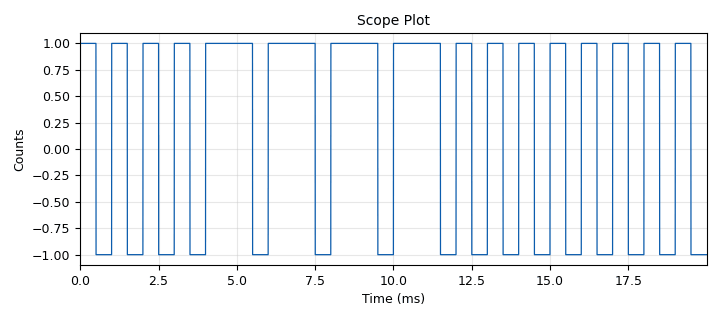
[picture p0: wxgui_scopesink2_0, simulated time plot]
<?xml version='1.0' encoding='utf-8'?>
<?grc format='1' created='3.7.11'?>
<flow_graph>
<block>
<key>options</key>
<param><key>id</key><value>top_block</value></param>
<param><key>generate_options</key><value>wx_gui</value></param>
</block>
<block>
<key>variable</key>
<param><key>id</key><value>center_freq</value></param>
<param><key>value</key><value>433e6</value></param>
</block>
<block>
<key>variable</key>
<param><key>id</key><value>samp_rate</value></param>
<param><key>value</key><value>2e6</value></param>
</block>
<block>
<key>variable</key>
<param><key>id</key><value>symbol_duration</value></param>
<param><key>value</key><value>0.00050</value></param>
</block>
<block>
<key>analog_sig_source_x</key>
<param><key>id</key><value>analog_sig_source_x_0</value></param>
<param><key>amp</key><value>1</value></param>
<param><key>freq</key><value>900500</value></param>
<param><key>offset</key><value>0</value></param>
<param><key>type</key><value>complex</value></param>
<param><key>samp_rate</key><value>samp_rate</value></param>
<param><key>waveform</key><value>analog.GR_COS_WAVE</value></param>
</block>
<block>
<key>blocks_add_const_vxx</key>
<param><key>id</key><value>blocks_add_const_vxx_0</value></param>
<param><key>const</key><value>-0.5</value></param>
<param><key>type</key><value>float</value></param>
</block>
<block>
<key>blocks_complex_to_mag_squared</key>
<param><key>id</key><value>blocks_complex_to_mag_squared_0</value></param>
</block>
<block>
<key>blocks_multiply_const_vxx</key>
<param><key>id</key><value>blocks_multiply_const_vxx_0</value></param>
<param><key>const</key><value>2</value></param>
<param><key>type</key><value>float</value></param>
</block>
<block>
<key>blocks_multiply_xx</key>
<param><key>id</key><value>blocks_multiply_xx_0</value></param>
<param><key>type</key><value>complex</value></param>
</block>
<block>
<key>blocks_repeat</key>
<param><key>id</key><value>blocks_repeat_0</value></param>
<param><key>interp</key><value>int(samp_rate * symbol_duration)</value></param>
<param><key>type</key><value>complex</value></param>
</block>
<block>
<key>blocks_threshold_ff</key>
<param><key>id</key><value>blocks_threshold_ff_0</value></param>
<param><key>high</key><value>0.11</value></param>
<param><key>init</key><value>0</value></param>
<param><key>low</key><value>0.1</value></param>
</block>
<block>
<key>blocks_throttle</key>
<param><key>id</key><value>blocks_throttle_0</value></param>
<param><key>samples_per_second</key><value>samp_rate</value></param>
<param><key>type</key><value>complex</value></param>
</block>
<block>
<key>blocks_vector_source_x</key>
<param><key>id</key><value>blocks_vector_source_x_0</value></param>
<param><key>type</key><value>complex</value></param>
<param><key>repeat</key><value>True</value></param>
<param><key>vector</key><value>[1,1,1,0,1,1,1,0,1,1,1,0,1,1,1,0,1,0,1,0,1,0,1,0,1,0,1,0,1,0,1,0,1,0,1,0,1,0,1,0,1,0,1,0,1,0,1,0,1,0,1,0,1,0,1,0,1,0,1,0,1,0,1,0,1,0,1,0,1,0,1,0,1,0,1,0,1,0,1,0,1,0,1,0]</value></param>
</block>
<block>
<key>blocks_wavfile_sink</key>
<param><key>id</key><value>blocks_wavfile_sink_0</value></param>
<param><key>bits_per_sample</key><value>8</value></param>
<param><key>_enabled</key><value>0</value></param>
<param><key>file</key><value>S:\SDROutput\RCCar\GeneratedOut2.wav</value></param>
<param><key>samp_rate</key><value>int(samp_rate)</value></param>
</block>
<block>
<key>osmosdr_sink</key>
<param><key>id</key><value>osmosdr_sink_1</value></param>
<param><key>bb_gain0</key><value>20</value></param>
<param><key>freq0</key><value>center_freq</value></param>
<param><key>if_gain0</key><value>20</value></param>
<param><key>gain0</key><value>10</value></param>
<param><key>args</key><value></value></param>
<param><key>type</key><value>fc32</value></param>
<param><key>sample_rate</key><value>samp_rate</value></param>
<param><key>sync</key><value></value></param>
</block>
<block>
<key>wxgui_scopesink2</key>
<param><key>id</key><value>wxgui_scopesink2_0</value></param>
<param><key>ac_couple</key><value>False</value></param>
<param><key>num_inputs</key><value>1</value></param>
<param><key>samp_rate</key><value>samp_rate</value></param>
<param><key>t_scale</key><value>0.002</value></param>
<param><key>title</key><value>Scope Plot</value></param>
<param><key>trig_mode</key><value>wxgui.TRIG_MODE_AUTO</value></param>
<param><key>type</key><value>float</value></param>
<param><key>v_offset</key><value>0</value></param>
<param><key>v_scale</key><value>1</value></param>
<param><key>xy_mode</key><value>False</value></param>
<param><key>y_axis_label</key><value>Counts</value></param>
</block>
<connection><source_block_id>analog_sig_source_x_0</source_block_id><sink_block_id>blocks_multiply_xx_0</sink_block_id><source_key>0</source_key><sink_key>1</sink_key></connection>
<connection><source_block_id>blocks_add_const_vxx_0</source_block_id><sink_block_id>blocks_multiply_const_vxx_0</sink_block_id><source_key>0</source_key><sink_key>0</sink_key></connection>
<connection><source_block_id>blocks_complex_to_mag_squared_0</source_block_id><sink_block_id>blocks_threshold_ff_0</sink_block_id><source_key>0</source_key><sink_key>0</sink_key></connection>
<connection><source_block_id>blocks_multiply_const_vxx_0</source_block_id><sink_block_id>blocks_wavfile_sink_0</sink_block_id><source_key>0</source_key><sink_key>0</sink_key></connection>
<connection><source_block_id>blocks_multiply_const_vxx_0</source_block_id><sink_block_id>wxgui_scopesink2_0</sink_block_id><source_key>0</source_key><sink_key>0</sink_key></connection>
<connection><source_block_id>blocks_multiply_xx_0</source_block_id><sink_block_id>blocks_throttle_0</sink_block_id><source_key>0</source_key><sink_key>0</sink_key></connection>
<connection><source_block_id>blocks_repeat_0</source_block_id><sink_block_id>blocks_multiply_xx_0</sink_block_id><source_key>0</source_key><sink_key>0</sink_key></connection>
<connection><source_block_id>blocks_threshold_ff_0</source_block_id><sink_block_id>blocks_add_const_vxx_0</sink_block_id><source_key>0</source_key><sink_key>0</sink_key></connection>
<connection><source_block_id>blocks_throttle_0</source_block_id><sink_block_id>blocks_complex_to_mag_squared_0</sink_block_id><source_key>0</source_key><sink_key>0</sink_key></connection>
<connection><source_block_id>blocks_throttle_0</source_block_id><sink_block_id>osmosdr_sink_1</sink_block_id><source_key>0</source_key><sink_key>0</sink_key></connection>
<connection><source_block_id>blocks_vector_source_x_0</source_block_id><sink_block_id>blocks_repeat_0</sink_block_id><source_key>0</source_key><sink_key>0</sink_key></connection>
</flow_graph>
